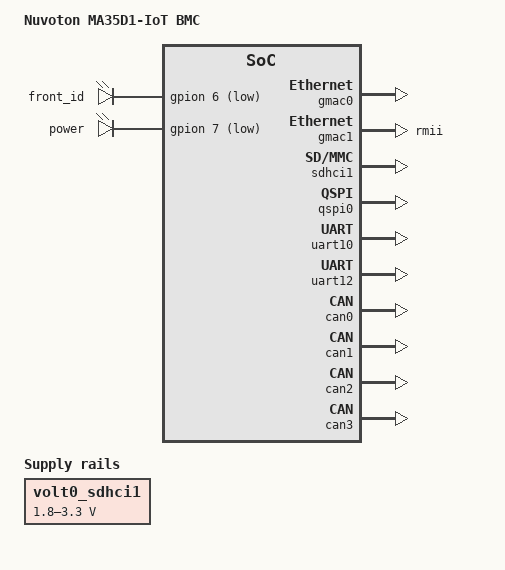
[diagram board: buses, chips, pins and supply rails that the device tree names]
/*
 * Device Tree Source for MA35D1 IoT Board (BMC)
 *
 * Based on upstream ma35d1-iot-ma35d16fj0-v1-512m.dts with BMC-specific
 * modifications: UBI/UBIFS root, LED naming, PDMA enablement, Host SOL (UART10),
 * CAN-FD (CAN0, CAN1, CAN2, CAN3), and GPIO power control.
 *
 * Copyright (C) 2021 Nuvoton Technology Corp.
 *
 * The code contained herein is licensed under the GNU General Public
 * License. You may obtain a copy of the GNU General Public License
 * Version 2 or later at the following locations:
 *
 * http://www.opensource.org/licenses/gpl-license.html
 * http://www.gnu.org/copyleft/gpl.html
 */

/dts-v1/;

#include "ma35d1.dtsi"

/ {
	model = "Nuvoton MA35D1-IoT BMC";

	aliases {
		serial0 = &uart0;
		serial10 = &uart10;
		serial12 = &uart12;
	};

	chosen {
		bootargs = "noinitrd ubi.mtd=spinand-rootfs root=ubi0:rootfs rootfstype=ubifs rw rootwait=1 console=ttyS0,115200n8 init=/sbin/init mem=512M swiotlb=1";
		stdout-path = "serial0:115200n8";
	};

	leds {
		compatible = "gpio-leds";

		front_id {
			label = "front_id";
			gpios = <&gpion 6 GPIO_ACTIVE_LOW>;
			default-state = "off";
		};

		power {
			label = "power";
			gpios = <&gpion 7 GPIO_ACTIVE_LOW>;
			default-state = "on";
		};
	};

	volt0_sdhci1: regulator-volt0_sdhci1 {
		compatible = "regulator-gpio";
		regulator-name = "volt1_sdhci1";
		regulator-min-microvolt = <1800000>;
		regulator-max-microvolt = <3300000>;
		gpios = <&gpion 11 GPIO_ACTIVE_HIGH>; /* PN11 */
		gpios-states = <0>;
		states = <1800000 0x1 3300000 0x0>;
		enable-active-high;
		regulator-boot-on;
	};
};

&mem {
	device_type = "memory";
	reg = <0x00000000 0x80000000 0 0x20000000>; /* DRAM space - 1, size : 512MB DRAM */
};

&pdma0 {
	status = "okay";
};

&pdma1 {
	status = "okay";
};

&pdma2 {
	status = "okay";
};

&pdma3 {
	status = "okay";
};

&gmac0 {
	status = "okay";
	pinctrl-names = "default";
	pinctrl-0 = <&pinctrl_gmac0>;
};

&gmac1 {
	status = "okay";
	phy-mode = "rmii";
	pinctrl-names = "default";
	pinctrl-0 = <&pinctrl_gmac1>;
};

&ehci0 {
	pinctrl-names = "default";
	pinctrl-0 = <&pinctrl_hsusbh>;
};

&usb {
	pinctrl-names = "default";
	pinctrl-0 = <&pinctrl_usb>;
};

&sdhci1 {
	status = "okay";
	disable-wp;
	pinctrl-names = "sdhci_3V3","sdhci_1V8";
	pinctrl-0 = <&pinctrl_sdhci1_3_3V>;
	pinctrl-1 = <&pinctrl_sdhci1_1_8V>;
	vqmmc-supply = <&volt0_sdhci1>;
};

&qspi0 {
	status = "okay";
	pinctrl-names = "default";
	pinctrl-0 = <&pinctrl_qspi0>;
};

&cpu_thermal {
	trips {
		cpu_alert: cpu-alert {
			temperature = <95000>;
			hysteresis = <2000>;
			type = "passive";
		};

		cpu_crit: cpu-crit {
			temperature = <105000>;
			hysteresis = <2000>;
			type = "critical";
		};
	};
};

/* Host Serial-Over-LAN (SOL) UART: /dev/ttyS10 (PH6/PH7) */
&uart10 {
	status = "okay";
	pinctrl-names = "default";
	pinctrl-0 = <&pinctrl_uart10>;
};

/* Independent RS-485 Serial Interface with Hardware Auto-Direction (AUD): /dev/ttyS12 (PC13~PC15) */
&uart12 {
	status = "okay";
	pinctrl-names = "default";
	pinctrl-0 = <&pinctrl_uart12>;
	linux,rs485-enabled-at-boot-time;
	rs485-rts-active-high;
};

&can0 {
	status = "okay";
	pinctrl-names = "default";
	pinctrl-0 = <&pinctrl_can0>;
};

&can1 {
	status = "okay";
	pinctrl-names = "default";
	pinctrl-0 = <&pinctrl_can1>;
};

&can2 {
	status = "okay";
	pinctrl-names = "default";
	pinctrl-0 = <&pinctrl_can2>;
};

&can3 {
	status = "okay";
	pinctrl-names = "default";
	pinctrl-0 = <&pinctrl_can3>;
};

/* GPIO line names for x86-power-control (libgpiod) */
&gpioi {
	gpio-line-names =
		"", "", "", "", "", "", "", "", "", "",
		"RESET_OUT",	/* PI10 */
		"",
		"POWER_OUT";	/* PI12 */
};

&gpioh {
	gpio-line-names =
		"", "",
		"PS_PWROK";	/* PH2 */
};

&pinctrl {
	gmac0 {
		pinctrl_gmac0: gmac0grp{
			nuvoton,pins =
				<SYS_GPE_MFPL_PE0MFP_RGMII0_MDC		&pcfg_emac_1_8V>,
				<SYS_GPE_MFPL_PE1MFP_RGMII0_MDIO	&pcfg_emac_1_8V>,
				<SYS_GPE_MFPL_PE2MFP_RGMII0_TXCTL	&pcfg_emac_1_8V>,
				<SYS_GPE_MFPL_PE3MFP_RGMII0_TXD0	&pcfg_emac_1_8V>,
				<SYS_GPE_MFPL_PE4MFP_RGMII0_TXD1	&pcfg_emac_1_8V>,
				<SYS_GPE_MFPL_PE5MFP_RGMII0_RXCLK	&pcfg_emac_1_8V>,
				<SYS_GPE_MFPL_PE6MFP_RGMII0_RXCTL	&pcfg_emac_1_8V>,
				<SYS_GPE_MFPL_PE7MFP_RGMII0_RXD0	&pcfg_emac_1_8V>,
				<SYS_GPE_MFPH_PE8MFP_RGMII0_RXD1	&pcfg_emac_1_8V>,
				<SYS_GPE_MFPH_PE9MFP_RGMII0_RXD2	&pcfg_emac_1_8V>,
				<SYS_GPE_MFPH_PE10MFP_RGMII0_RXD3	&pcfg_emac_1_8V>,
				<SYS_GPE_MFPH_PE11MFP_RGMII0_TXCLK	&pcfg_emac_1_8V>,
				<SYS_GPE_MFPH_PE12MFP_RGMII0_TXD2	&pcfg_emac_1_8V>,
				<SYS_GPE_MFPH_PE13MFP_RGMII0_TXD3	&pcfg_emac_1_8V>;
		};
	};

	gmac1 {
		pinctrl_gmac1: gmac1grp{
			nuvoton,pins =
				<SYS_GPF_MFPL_PF0MFP_RMII1_MDC		&pcfg_emac_3_3V>,
				<SYS_GPF_MFPL_PF1MFP_RMII1_MDIO		&pcfg_emac_3_3V>,
				<SYS_GPF_MFPL_PF2MFP_RMII1_TXEN		&pcfg_emac_3_3V>,
				<SYS_GPF_MFPL_PF3MFP_RMII1_TXD0		&pcfg_emac_3_3V>,
				<SYS_GPF_MFPL_PF4MFP_RMII1_TXD1		&pcfg_emac_3_3V>,
				<SYS_GPF_MFPL_PF5MFP_RMII1_REFCLK	&pcfg_emac_3_3V>,
				<SYS_GPF_MFPL_PF6MFP_RMII1_CRSDV	&pcfg_emac_3_3V>,
				<SYS_GPF_MFPL_PF7MFP_RMII1_RXD0		&pcfg_emac_3_3V>,
				<SYS_GPF_MFPH_PF8MFP_RMII1_RXD1		&pcfg_emac_3_3V>,
				<SYS_GPF_MFPH_PF9MFP_RMII1_RXERR	&pcfg_emac_3_3V>;
		};
	};

	hsusbh {
		pinctrl_hsusbh: hsusbhgrp{
			nuvoton,pins =
				<SYS_GPL_MFPH_PL12MFP_HSUSBH_PWREN	&pcfg_default>,
				<SYS_GPL_MFPH_PL13MFP_HSUSBH_OVC	&pcfg_default>;
		};
	};

	uart10 {
		pinctrl_uart10: uart10grp{
			nuvoton,pins =
				<SYS_GPH_MFPL_PH4MFP_UART10_nCTS	&pcfg_default>,
				<SYS_GPH_MFPL_PH5MFP_UART10_nRTS	&pcfg_default>,
				<SYS_GPH_MFPL_PH6MFP_UART10_RXD	&pcfg_default>,
				<SYS_GPH_MFPL_PH7MFP_UART10_TXD	&pcfg_default>;
		};
	};

	uart12 {
		pinctrl_uart12: uart12grp{
			nuvoton,pins =
				<SYS_GPC_MFPH_PC13MFP_UART12_nRTS	&pcfg_default>,
				<SYS_GPC_MFPH_PC14MFP_UART12_RXD	&pcfg_default>,
				<SYS_GPC_MFPH_PC15MFP_UART12_TXD	&pcfg_default>;
		};
	};

	qspi0 {
		pinctrl_qspi0: qspi0grp{
			nuvoton,pins =
				<SYS_GPD_MFPL_PD0MFP_QSPI0_SS0		&pcfg_default>,
				<SYS_GPD_MFPL_PD1MFP_QSPI0_CLK		&pcfg_default>,
				<SYS_GPD_MFPL_PD2MFP_QSPI0_MOSI0	&pcfg_default>,
				<SYS_GPD_MFPL_PD3MFP_QSPI0_MISO0	&pcfg_default>,
				<SYS_GPD_MFPL_PD4MFP_QSPI0_MOSI1	&pcfg_default>,
				<SYS_GPD_MFPL_PD5MFP_QSPI0_MISO1	&pcfg_default>;
		};
	};

	usb {
		pinctrl_usb: usbgrp{
			nuvoton,pins =
				<SYS_GPF_MFPH_PF15MFP_HSUSB0_VBUSVLD	&pcfg_default>;
		};
	};

	can0 {
		pinctrl_can0: can0grp{
			nuvoton,pins =
				<SYS_GPB_MFPH_PB10MFP_CAN0_RXD	&pcfg_default>,
				<SYS_GPB_MFPH_PB11MFP_CAN0_TXD	&pcfg_default>;
		};
	};

	can1 {
		pinctrl_can1: can1grp{
			nuvoton,pins =
				<SYS_GPC_MFPL_PC6MFP_CAN1_RXD	&pcfg_default>,
				<SYS_GPC_MFPL_PC7MFP_CAN1_TXD	&pcfg_default>;
		};
	};

	can2 {
		pinctrl_can2: can2grp{
			nuvoton,pins =
				<SYS_GPB_MFPH_PB12MFP_CAN2_RXD	&pcfg_default>,
				<SYS_GPB_MFPH_PB13MFP_CAN2_TXD	&pcfg_default>;
		};
	};

	can3 {
		pinctrl_can3: can3grp{
			nuvoton,pins =
				<SYS_GPG_MFPH_PG8MFP_CAN3_RXD	&pcfg_default>,
				<SYS_GPG_MFPH_PG9MFP_CAN3_TXD	&pcfg_default>;
		};
	};

	sdhci1 {
		pinctrl_sdhci1_3_3V: sdhci1_3_3Vgrp{
			nuvoton,pins =
				<SYS_GPJ_MFPL_PJ5MFP_SD1_nCD	&pcfg_default>,
				<SYS_GPJ_MFPL_PJ6MFP_SD1_CMD	&pcfg_sdhci_drive2_3_3V>,
				<SYS_GPJ_MFPL_PJ7MFP_SD1_CLK	&pcfg_sdhci_drive2_3_3V>,
				<SYS_GPJ_MFPH_PJ8MFP_SD1_DAT0	&pcfg_sdhci_drive2_3_3V>,
				<SYS_GPJ_MFPH_PJ9MFP_SD1_DAT1	&pcfg_sdhci_drive2_3_3V>,
				<SYS_GPJ_MFPH_PJ10MFP_SD1_DAT2	&pcfg_sdhci_drive2_3_3V>,
				<SYS_GPJ_MFPH_PJ11MFP_SD1_DAT3	&pcfg_sdhci_drive2_3_3V>;
		};

		pinctrl_sdhci1_1_8V: sdhci1_1_8Vgrp{
			nuvoton,pins =
				<SYS_GPJ_MFPL_PJ5MFP_SD1_nCD	&pcfg_default>,
				<SYS_GPJ_MFPL_PJ6MFP_SD1_CMD	&pcfg_sdhci_drive4_1_8V>,
				<SYS_GPJ_MFPL_PJ7MFP_SD1_CLK	&pcfg_sdhci_drive7_1_8V>,
				<SYS_GPJ_MFPH_PJ8MFP_SD1_DAT0	&pcfg_sdhci_drive1_1_8V>,
				<SYS_GPJ_MFPH_PJ9MFP_SD1_DAT1	&pcfg_sdhci_drive1_1_8V>,
				<SYS_GPJ_MFPH_PJ10MFP_SD1_DAT2	&pcfg_sdhci_drive1_1_8V>,
				<SYS_GPJ_MFPH_PJ11MFP_SD1_DAT3	&pcfg_sdhci_drive1_1_8V>;
		};
	};
};
